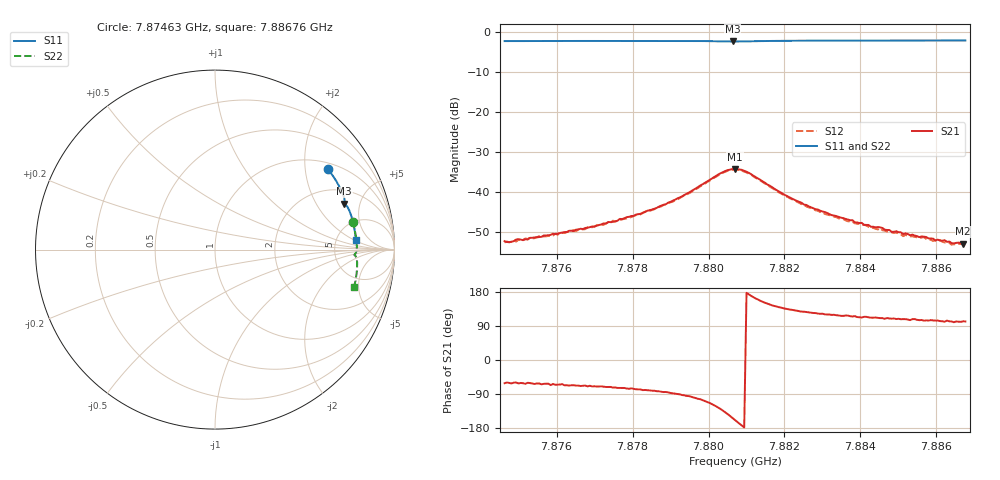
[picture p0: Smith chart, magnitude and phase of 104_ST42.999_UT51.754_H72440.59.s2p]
#  HZ  S  DB  R  50.00
! Rohde & Schwarz Vector Network Analyzer
! Rohde-Schwarz,ZNB20-2Port,1311601062101988,3.16
! Created: UTC 1/12/2023, 6:36:58 PM
! freq[Hz]  db:S11  ang:S11  db:S21  ang:S21  db:S12  ang:S12  db:S22  ang:S22
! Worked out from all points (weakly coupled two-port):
!   201 points, 7.87463 GHz to 7.88676 GHz, reference 50 ohm
!   highest |S21| = -34.25 dB at 7.8807 GHz (marker M1); lowest = -52.9 dB at 7.8867 GHz (marker M2)
!   lowest |S11| = -2.3 dB at 7.88064 GHz (marker M3), VSWR 7.46, Z = 145 + j178 ohm
!   |S11| at or under -10 dB: nowhere
!   |S22| runs from -2.2 to -1.9 dB; largest |S21 - S12| = 0.0012
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7.874632e9  -2.24 35.5  -52.34 -61.2  -52.66 -60.2  -2.14 11.5
7.875239e9  -2.23 33.8  -51.94 -60.2  -51.80 -63.9  -2.12 10.1
7.876694e9  -2.21 29.9  -49.32 -67.9  -49.38 -70.9  -2.08 6.7
7.877908e9  -2.19 26.6  -46.25 -75.9  -46.52 -78.1  -2.06 3.8
7.878696e9  -2.19 24.3  -43.71 -82.5  -43.81 -86.7  -2.04 2.0
7.879545e9  -2.21 21.9  -39.83 -97.1  -40.07 -100.5  -2.06 -0.1
7.880273e9  -2.30 20.0  -35.56 -126.5  -35.77 -130.0  -2.15 -1.8
7.880637e9  -2.34 19.5  -34.30 -153.5  -34.46 -156.9  -2.20 -2.1
7.880698e9  -2.34 19.5  -34.25 -158.5  -34.43 -162.0  -2.20 -2.1
7.881122e9  -2.28 19.0  -35.58 169.2  -35.69 165.6  -2.15 -2.4
7.882032e9  -2.17 16.5  -40.89 135.3  -41.09 132.0  -2.01 -4.4
7.88276e9  -2.14 14.5  -44.13 124.1  -44.33 120.6  -1.98 -6.1
7.883852e9  -2.12 11.6  -47.63 115.8  -47.87 112.1  -1.95 -8.7
7.884761e9  -2.10 9.2  -49.55 109.6  -50.05 106.5  -1.93 -10.6
7.885125e9  -2.10 8.2  -50.57 107.9  -51.09 104.3  -1.92 -11.4
7.885186e9  -2.10 8.0  -50.40 107.8  -50.77 104.0  -1.92 -11.6
7.885732e9  -2.09 6.6  -51.31 104.6  -51.78 100.1  -1.92 -12.8
7.885974e9  -2.09 6.0  -52.20 104.0  -52.11 101.6  -1.92 -13.3
7.886217e9  -2.09 5.3  -52.12 101.0  -52.69 98.8  -1.91 -13.8
7.886399e9  -2.09 4.9  -52.83 101.7  -53.21 98.2  -1.91 -14.2
7.886702e9  -2.09 4.1  -52.93 102.2  -53.27 97.5  -1.91 -14.9
7.886763e9  -2.08 3.9  -52.64 101.6  -53.60 95.1  -1.91 -15.0
